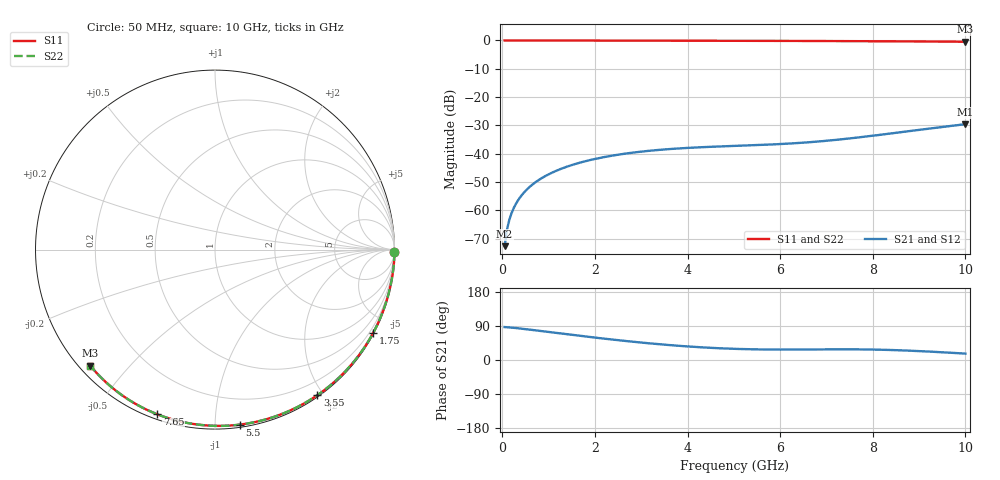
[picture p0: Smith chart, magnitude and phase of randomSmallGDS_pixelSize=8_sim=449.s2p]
! freq	dB(S11)	phase(S11)	dB(S12)	phase(S12)
!  dB(S21)	phase(S21)	dB(S22)	phase(S22)
!S-par simulation data
#  GHz  S  DB  R 50
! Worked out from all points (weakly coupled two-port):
!   200 points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, 50 MHz to 10 GHz, reference 50 ohm
!   highest |S21| = -29.59 dB at 10 GHz (marker M1); lowest = -72.7 dB at 50 MHz (marker M2)
!   lowest |S11| = -0.5 dB at 10 GHz (marker M3), VSWR 38.26, Z = 1.51 - j19.7 ohm
!   |S11| at or under -10 dB: nowhere
!   |S22| runs from -0.5 to 0.0 dB; largest |S21 - S12| = 0
!   S11 on the Smith chart (normalised r, x): 50 MHz: open; 1.75 GHz: 0.04, -4.05; 3.55 GHz: 0.02, -1.93; 5.5 GHz: 0.02, -1.15; 7.65 GHz: 0.02, -0.71; 10 GHz: 0.03, -0.39
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0.05  -0.00 -0.8  -72.70 86.9  -72.70 86.9  -0.00 -0.8
0.1  -0.00 -1.6  -66.92 86.3  -66.92 86.3  -0.00 -1.6
0.15  -0.00 -2.4  -63.49 85.9  -63.49 85.9  -0.00 -2.4
0.2  -0.00 -3.2  -61.04 85.5  -61.04 85.5  -0.00 -3.2
0.25  -0.00 -4.0  -59.13 84.9  -59.13 84.9  -0.00 -4.0
0.35  -0.00 -5.6  -56.24 83.6  -56.24 83.6  -0.00 -5.6
0.5  -0.01 -8.0  -53.18 81.5  -53.18 81.5  -0.01 -8.0
0.7  -0.01 -11.2  -50.31 78.5  -50.31 78.5  -0.01 -11.2
1  -0.02 -16.0  -47.32 73.9  -47.32 73.9  -0.02 -16.0
1.35  -0.03 -21.5  -44.87 68.6  -44.87 68.6  -0.03 -21.5
1.75  -0.04 -27.8  -42.86 62.7  -42.86 62.7  -0.04 -27.7
2.5  -0.05 -39.3  -40.37 52.3  -40.37 52.3  -0.05 -39.3
3.4  -0.07 -52.7  -38.66 41.5  -38.66 41.5  -0.07 -52.7
3.55  -0.07 -54.9  -38.46 40.0  -38.46 40.0  -0.07 -54.9
4.3  -0.09 -65.6  -37.73 33.4  -37.73 33.4  -0.09 -65.6
5.05  -0.12 -76.0  -37.25 29.3  -37.25 29.3  -0.12 -76.0
5.5  -0.13 -82.0  -36.98 28.0  -36.98 28.0  -0.13 -82.0
6.7  -0.19 -97.5  -35.88 28.0  -35.88 28.0  -0.19 -97.5
7.65  -0.24 -109.3  -34.35 28.1  -34.35 28.1  -0.24 -109.3
8.35  -0.30 -117.7  -32.96 26.6  -32.96 26.6  -0.30 -117.7
9.2  -0.37 -127.7  -31.20 22.4  -31.20 22.4  -0.37 -127.7
10  -0.45 -137.0  -29.59 16.8  -29.59 16.8  -0.45 -137.0
